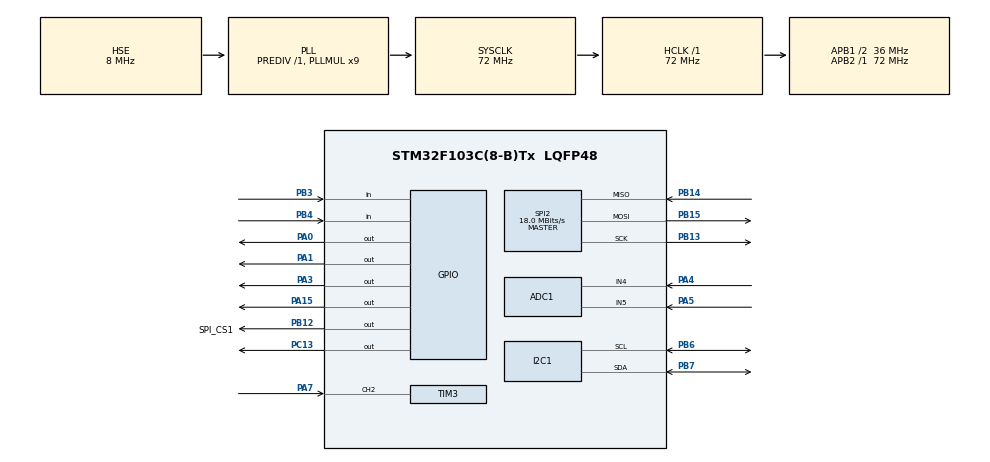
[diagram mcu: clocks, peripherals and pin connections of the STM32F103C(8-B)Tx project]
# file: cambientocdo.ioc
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ADC1.Channel-2\#ChannelRegularConversion=ADC_CHANNEL_4
ADC1.Channel-3\#ChannelRegularConversion=ADC_CHANNEL_5
ADC1.ContinuousConvMode=ENABLE
ADC1.EnableAnalogWatchDog=true
ADC1.NbrOfConversion=2
ADC1.NbrOfConversionFlag=1
ADC1.Rank-2\#ChannelRegularConversion=1
ADC1.Rank-3\#ChannelRegularConversion=2
ADC1.SamplingTime-2\#ChannelRegularConversion=ADC_SAMPLETIME_239CYCLES_5
ADC1.SamplingTime-3\#ChannelRegularConversion=ADC_SAMPLETIME_7CYCLES_5
ADC1.WatchdogChannel=ADC_CHANNEL_4
ADC1.master=1
Dma.ADC1.0.Direction=DMA_PERIPH_TO_MEMORY
Dma.ADC1.0.Instance=DMA1_Channel1
Dma.ADC1.0.MemDataAlignment=DMA_MDATAALIGN_HALFWORD
Dma.ADC1.0.MemInc=DMA_MINC_ENABLE
Dma.ADC1.0.Mode=DMA_CIRCULAR
Dma.ADC1.0.PeriphDataAlignment=DMA_PDATAALIGN_HALFWORD
Dma.ADC1.0.PeriphInc=DMA_PINC_DISABLE
Dma.ADC1.0.Priority=DMA_PRIORITY_LOW
Dma.Request0=ADC1
Mcu.Family=STM32F1
Mcu.Name=STM32F103C(8-B)Tx
Mcu.Package=LQFP48
NVIC.DMA1_Channel1_IRQn=true\:3\:0\:true\:false\:true\:false\:true\:true
NVIC.PriorityGroup=NVIC_PRIORITYGROUP_4
NVIC.TIM3_IRQn=true\:0\:0\:false\:false\:true\:true\:true\:true
PA0-WKUP.Signal=GPIO_Output
PA1.Signal=GPIO_Output
PA13.Mode=Serial_Wire
PA13.Signal=SYS_JTMS-SWDIO
PA14.Mode=Serial_Wire
PA14.Signal=SYS_JTCK-SWCLK
PA15.Signal=GPIO_Output
PA3.Signal=GPIO_Output
PA4.Signal=ADCx_IN4
PA5.Signal=ADCx_IN5
PA7.GPIO_PuPd=GPIO_PULLUP
PA7.Signal=S_TIM3_CH2
PB12.GPIO_Label=SPI_CS1
PB12.GPIO_PuPd=GPIO_PULLUP
PB12.PinState=GPIO_PIN_SET
PB12.Signal=GPIO_Output
PB13.Mode=Full_Duplex_Master
PB13.Signal=SPI2_SCK
PB14.Mode=Full_Duplex_Master
PB14.Signal=SPI2_MISO
PB15.Mode=Full_Duplex_Master
PB15.Signal=SPI2_MOSI
PB3.GPIO_PuPd=GPIO_PULLDOWN
PB3.Signal=GPIO_Input
PB4.GPIO_PuPd=GPIO_PULLDOWN
PB4.Signal=GPIO_Input
PB6.Mode=I2C
PB6.Signal=I2C1_SCL
PB7.Mode=I2C
PB7.Signal=I2C1_SDA
PC13-TAMPER-RTC.Signal=GPIO_Output
PD0-OSC_IN.Mode=HSE-External-Oscillator
PD0-OSC_IN.Signal=RCC_OSC_IN
PD1-OSC_OUT.Mode=HSE-External-Oscillator
PD1-OSC_OUT.Signal=RCC_OSC_OUT
ProjectManager.HeapSize=0x200
ProjectManager.StackSize=0x400
ProjectManager.TargetToolchain=MDK-ARM V5.32
RCC.ADCPresc=RCC_ADCPCLK2_DIV6
RCC.AHBFreq_Value=72000000
RCC.APB1CLKDivider=RCC_HCLK_DIV2
RCC.APB1Freq_Value=36000000
RCC.APB1TimFreq_Value=72000000
RCC.APB2Freq_Value=72000000
RCC.APB2TimFreq_Value=72000000
RCC.HCLKFreq_Value=72000000
RCC.PLLMUL=RCC_PLL_MUL9
RCC.PLLSourceVirtual=RCC_PLLSOURCE_HSE
RCC.SYSCLKFreq_VALUE=72000000
RCC.SYSCLKSource=RCC_SYSCLKSOURCE_PLLCLK
RCC.USBFreq_Value=72000000
SH.ADCx_IN4.0=ADC1_IN4,IN4
SH.ADCx_IN5.0=ADC1_IN5,IN5
SH.S_TIM3_CH2.0=TIM3_CH2,Input_Capture2_from_TI2
SPI2.CalculateBaudRate=18.0 MBits/s
SPI2.Direction=SPI_DIRECTION_2LINES
SPI2.Mode=SPI_MODE_MASTER
SPI2.VirtualType=VM_MASTER
TIM3.AutoReloadPreload=TIM_AUTORELOAD_PRELOAD_ENABLE
TIM3.Channel-Input_Capture2_from_TI2=TIM_CHANNEL_2
TIM3.ClockDivision=TIM_CLOCKDIVISION_DIV1
TIM3.Period=255
TIM3.Prescaler=4607
board=custom

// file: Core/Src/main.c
/* USER CODE BEGIN Header */
/**
  ******************************************************************************
  * @file           : main.c
  * @brief          : Main program body
  ******************************************************************************
  * @attention
  *
  * Copyright (c) 2025 STMicroelectronics.
  * All rights reserved.
  *
  * This software is licensed under terms that can be found in the LICENSE file
  * in the root directory of this software component.
  * If no LICENSE file comes with this software, it is provided AS-IS.
  *
  ******************************************************************************
  */
#define Len1   0
#define Len2   1
#define Len3   2

/* USER CODE END Header */
#include "main.h"

/* USER CODE BEGIN Includes */
#include "kalman.h"
#include "CLCD_I2C.h"
#include <stdio.h>
/* USER CODE END Includes */

/* USER CODE BEGIN PTD */
volatile uint32_t T1 = 0;
volatile uint32_t T2 = 0;
volatile uint32_t T3 = 0;
volatile uint32_t OverNgat = 0;
volatile int State = 0, state_xe =1;
volatile uint32_t T3_T1 = 0;
volatile double F = 0,T = 0;
volatile double tocdo = 0,vantocxe = 0;
volatile uint32_t  luuadc = 1100,tayga = 0, tinhhieului =0;

/* USER CODE END PTD */

ADC_HandleTypeDef hadc1;
DMA_HandleTypeDef hdma_adc1;

I2C_HandleTypeDef hi2c1;

SPI_HandleTypeDef hspi2;

TIM_HandleTypeDef htim3;

/* USER CODE BEGIN PV */
CLCD_I2C_Name LCD1;
/* USER CODE END PV */

void SystemClock_Config(void);
static void MX_GPIO_Init(void);
static void MX_DMA_Init(void);
static void MX_TIM3_Init(void);
static void MX_ADC1_Init(void);
static void MX_SPI2_Init(void);
static void MX_I2C1_Init(void);

/* USER CODE BEGIN 0 */
uint8_t txData0 =0;
uint8_t txData1= 1;
uint8_t txData2= 2;
uint8_t txData4 =4;
uint8_t txData5= 5;
uint8_t txDataphanh = 6;
uint8_t txDatalui = 7;
uint32_t adc_sensortayga;
int  level_tayga=0;
const int stator_speed_table[4] = {550, 740, 1205 ,1430};// 3 phan tu nen so 3 nhung so index la 0,1,2
int new_leveltayga=0, want_tocdostator = 0, set_leveltayga = 0;
int i = 0;
void CLCD_I2C_WriteIntFixed(CLCD_I2C_Name* LCD, uint8_t x, uint8_t y, int value, uint8_t width) {
    char buffer[10];
    sprintf(buffer, "%*d", width, value); // width = s? ký t? c? d?nh, can ph?i
    CLCD_I2C_SetCursor(LCD, x, y);
    CLCD_I2C_WriteString(LCD, buffer);
}

/* USER CODE END 0 */

int main(void)
{

  /* MCU Configuration--------------------------------------------------------*/

  /* Reset of all peripherals, Initializes the Flash interface and the Systick. */
  HAL_Init();

  /* Configure the system clock */
  SystemClock_Config();

  /* Initialize all configured peripherals */
  MX_GPIO_Init();
  MX_DMA_Init();
  MX_TIM3_Init();
  MX_ADC1_Init();
  MX_SPI2_Init();
  MX_I2C1_Init();
  /* USER CODE BEGIN 2 */
  HAL_TIM_Base_Start_IT(&htim3);
  HAL_TIM_IC_Start_IT(&htim3, TIM_CHANNEL_2);
	SimpleKalmanFilter(2,2,0.001f);
	CLCD_I2C_Init(&LCD1,&hi2c1,0x4e,20,4);

  /* USER CODE END 2 */

  /* Infinite loop */
  /* USER CODE BEGIN WHILE */
  while (1)
  {
		// phanh
	while (HAL_GPIO_ReadPin(GPIOB, GPIO_PIN_3)== GPIO_PIN_SET){
    HAL_GPIO_WritePin(GPIOB, GPIO_PIN_12, GPIO_PIN_RESET);
   HAL_SPI_Transmit(&hspi2, &txDataphanh, 1, 10);
    HAL_GPIO_WritePin(GPIOB, GPIO_PIN_12, GPIO_PIN_SET);
    HAL_Delay(200);
		if (T3_T1 ==0)
			{	tocdo = 0;}
		else if (T3_T1 !=0)
			{ F = 1/(0.000064*(T3_T1));
				tocdo = F*60;
				vantocxe = (tocdo*297)/62500;}
	if(OverNgat > 200)
			{T3_T1=0;
			HAL_GPIO_WritePin(GPIOA, GPIO_PIN_3, GPIO_PIN_SET);
			State = Len1;}
		else { HAL_GPIO_WritePin(GPIOA, GPIO_PIN_3, GPIO_PIN_RESET);}}

		tinhhieului = HAL_GPIO_ReadPin(GPIOB, GPIO_PIN_4);
		if ( tocdo ==0 && tinhhieului == 1)
	{ state_xe = 0;}
else if (tocdo ==0 && tinhhieului == 0)
	{ state_xe = 1;}
	else { state_xe = state_xe;}

if (state_xe ==1)
	{
		//  cam bien toc do
	if (T3_T1 ==0)
		{tocdo = 0;
		vantocxe = 0;}
	else if (T3_T1 !=0)
		{F = 1/(0.000064*(T3_T1));
		tocdo = F*60;
			vantocxe = (tocdo*297)/62500;}
		// dung xe
	 if(OverNgat > 200)
			{T3_T1=0;
			HAL_GPIO_WritePin(GPIOA, GPIO_PIN_3, GPIO_PIN_SET);
			State = Len1;}
		else { HAL_GPIO_WritePin(GPIOA, GPIO_PIN_3, GPIO_PIN_RESET);}
		// ràng tocdo doi tanso

		 if(tocdo >= 0 && tocdo<550)
			{i=0;
				set_leveltayga = 1;
			}
		else if(tocdo > 550 && tocdo <740)
			{i = 1;
				set_leveltayga =2;
			}
		else if(tocdo>740 && tocdo <1205)
			{i = 2;
				set_leveltayga = 3;
			}
			else if(tocdo>1205 && tocdo <1430)
			{i = 3;
				set_leveltayga = 4;
			}
			//cambientayga
				HAL_ADC_Start_DMA(&hadc1,&adc_sensortayga, 1);
			if (adc_sensortayga < 1100)
				{level_tayga = 0;}
		else if ( adc_sensortayga > 1100 && adc_sensortayga <1700){
				level_tayga = 1;
				want_tocdostator = 550;}
			else if( adc_sensortayga > 1700 && adc_sensortayga <2300){
				level_tayga = 2;
			want_tocdostator = 740;}
			else if( adc_sensortayga > 2300 && adc_sensortayga <2800){
				level_tayga = 3;
				want_tocdostator = 1205;}
			else if( adc_sensortayga > 2800){
				level_tayga = 4;
			want_tocdostator= 1430;}
			// su li tin hieu
			if(level_tayga ==0){
		new_leveltayga = 0;
			}
		else if(level_tayga !=0){
 if (level_tayga > set_leveltayga)
	{ new_leveltayga = set_leveltayga;

		if (((float)tocdo >= 0.8*(float)stator_speed_table[i])) // s bang 0.2
	{ new_leveltayga = new_leveltayga+1;
		i= i+1;
	}else new_leveltayga =new_leveltayga;
	}
	else if( level_tayga == set_leveltayga)
	{ new_leveltayga = set_leveltayga;
			}
	else if(level_tayga < set_leveltayga)
	{ new_leveltayga =0;
		 if((float)tocdo < (float)0.85*want_tocdostator)
		{ new_leveltayga = level_tayga;}
			else{ new_leveltayga =0;}

		}
		}
  if(new_leveltayga ==0)
	{ HAL_GPIO_WritePin(GPIOB, GPIO_PIN_12, GPIO_PIN_RESET);
   HAL_SPI_Transmit(&hspi2, &txData0, 1, 10);
    HAL_GPIO_WritePin(GPIOB, GPIO_PIN_12, GPIO_PIN_SET);
	}
	  else if(new_leveltayga ==1)
	{ HAL_GPIO_WritePin(GPIOB, GPIO_PIN_12, GPIO_PIN_RESET);
   HAL_SPI_Transmit(&hspi2, &txData1, 1, 10);
    HAL_GPIO_WritePin(GPIOB, GPIO_PIN_12, GPIO_PIN_SET);
	}
		else if(new_leveltayga ==2)
		{ HAL_GPIO_WritePin(GPIOB, GPIO_PIN_12, GPIO_PIN_RESET);
   HAL_SPI_Transmit(&hspi2, &txData2, 1, 10);
    HAL_GPIO_WritePin(GPIOB, GPIO_PIN_12, GPIO_PIN_SET);
		}
				else if(new_leveltayga ==3)
				{ HAL_GPIO_WritePin(GPIOB, GPIO_PIN_12, GPIO_PIN_RESET);
   HAL_SPI_Transmit(&hspi2, &txData4, 1, 10);
    HAL_GPIO_WritePin(GPIOB, GPIO_PIN_12, GPIO_PIN_SET);
				}
	else if(new_leveltayga ==4)
				{ HAL_GPIO_WritePin(GPIOB, GPIO_PIN_12, GPIO_PIN_RESET);
   HAL_SPI_Transmit(&hspi2, &txData5, 1, 10);
    HAL_GPIO_WritePin(GPIOB, GPIO_PIN_12, GPIO_PIN_SET);
				}
}
	else if (state_xe ==0)
		{ if (T3_T1 ==0)
		{
			tocdo = 0;
		vantocxe= 0;}
		else if (T3_T1 !=0)
			{
  F = 1/(0.000064*(T3_T1));
		tocdo = F*60;
		vantocxe = (tocdo*297)/62500;	}

			if(OverNgat > 200)
			{T3_T1=0;
			HAL_GPIO_WritePin(GPIOA, GPIO_PIN_3, GPIO_PIN_SET);
			State = Len1;}
		else { HAL_GPIO_WritePin(GPIOA, GPIO_PIN_3, GPIO_PIN_RESET);}
			HAL_ADC_Start_DMA(&hadc1,&adc_sensortayga, 1);
				if (adc_sensortayga > 1100)
					{
		HAL_GPIO_WritePin(GPIOB, GPIO_PIN_12,GPIO_PIN_RESET);
	HAL_SPI_Transmit(&hspi2, &txDatalui, 1,10);
		HAL_GPIO_WritePin(GPIOB, GPIO_PIN_12,GPIO_PIN_SET);
	HAL_Delay(200);
					}
		else {
		HAL_GPIO_WritePin(GPIOB, GPIO_PIN_12,GPIO_PIN_RESET);
		HAL_SPI_Transmit(&hspi2, &txData0, 1,10);
		HAL_GPIO_WritePin(GPIOB, GPIO_PIN_12,GPIO_PIN_SET);
		HAL_Delay(200);}
		}

CLCD_I2C_SetCursor(&LCD1, 0, 0);
		CLCD_I2C_WriteString(&LCD1, "ga");
CLCD_I2C_WriteIntFixed(&LCD1, 4, 0, adc_sensortayga, 4);  // Ghi s? t?i v? trí c?t 3

// Hi?n th? RPM (4 ký t? s?)
CLCD_I2C_SetCursor(&LCD1, 0, 1);  // dòng th? 2, c?t 0
CLCD_I2C_WriteString(&LCD1, "RPM");
CLCD_I2C_WriteIntFixed(&LCD1, 4, 1, tocdo, 4);  // Ghi t?i c?t 4, t?i da 4 ch? s?

// Hi?n th? T3 (2 ký t? s?)
CLCD_I2C_SetCursor(&LCD1, 10, 0);  // Ghi t?i c?t 9 (sau RPM và 1 d?u cách)
CLCD_I2C_WriteString(&LCD1, "VANTOC");
CLCD_I2C_WriteIntFixed(&LCD1, 11, 1,vantocxe , 5);  // Ghi t?i c?t 12, t?i da 3 ch? s?

    /* USER CODE END WHILE */

    /* USER CODE BEGIN 3 */

}}

void HAL_TIM_IC_CaptureCallback(TIM_HandleTypeDef* htim3)
{
		if(State == Len1)
	{
		T1 = TIM3->CCR2;
		OverNgat = 0;
		State = Len2;
	}
	else if(State == Len2)
	{
		T2 = TIM3->CCR2;

		State = Len3;
	}
	else if(State == Len3)
	{
		T3 = TIM3->CCR2;
		T3_T1 = (T3 + (OverNgat* 256)) - T1;
		State = Len1;
		T1=0;
		T2=0;
		T3=0;

		}

	}

void HAL_TIM_PeriodElapsedCallback(TIM_HandleTypeDef* htim3)
{
	OverNgat++;

  /* USER CODE END 3 */
}

void SystemClock_Config(void)
{
  RCC_OscInitTypeDef RCC_OscInitStruct = {0};
  RCC_ClkInitTypeDef RCC_ClkInitStruct = {0};
  RCC_PeriphCLKInitTypeDef PeriphClkInit = {0};

  /** Initializes the RCC Oscillators according to the specified parameters
  * in the RCC_OscInitTypeDef structure.
  */
  RCC_OscInitStruct.OscillatorType = RCC_OSCILLATORTYPE_HSE;
  RCC_OscInitStruct.HSEState = RCC_HSE_ON;
  RCC_OscInitStruct.HSEPredivValue = RCC_HSE_PREDIV_DIV1;
  RCC_OscInitStruct.HSIState = RCC_HSI_ON;
  RCC_OscInitStruct.PLL.PLLState = RCC_PLL_ON;
  RCC_OscInitStruct.PLL.PLLSource = RCC_PLLSOURCE_HSE;
  RCC_OscInitStruct.PLL.PLLMUL = RCC_PLL_MUL9;
  if (HAL_RCC_OscConfig(&RCC_OscInitStruct) != HAL_OK)
  {
    Error_Handler();
  }

  /** Initializes the CPU, AHB and APB buses clocks
  */
  RCC_ClkInitStruct.ClockType = RCC_CLOCKTYPE_HCLK|RCC_CLOCKTYPE_SYSCLK
                              |RCC_CLOCKTYPE_PCLK1|RCC_CLOCKTYPE_PCLK2;
  RCC_ClkInitStruct.SYSCLKSource = RCC_SYSCLKSOURCE_PLLCLK;
  RCC_ClkInitStruct.AHBCLKDivider = RCC_SYSCLK_DIV1;
  RCC_ClkInitStruct.APB1CLKDivider = RCC_HCLK_DIV2;
  RCC_ClkInitStruct.APB2CLKDivider = RCC_HCLK_DIV1;

  if (HAL_RCC_ClockConfig(&RCC_ClkInitStruct, FLASH_LATENCY_2) != HAL_OK)
  {
    Error_Handler();
  }
  PeriphClkInit.PeriphClockSelection = RCC_PERIPHCLK_ADC;
  PeriphClkInit.AdcClockSelection = RCC_ADCPCLK2_DIV6;
  if (HAL_RCCEx_PeriphCLKConfig(&PeriphClkInit) != HAL_OK)
  {
    Error_Handler();
  }
}

static void MX_ADC1_Init(void)
{

  ADC_AnalogWDGConfTypeDef AnalogWDGConfig = {0};
  ADC_ChannelConfTypeDef sConfig = {0};

  /** Common config
  */
  hadc1.Instance = ADC1;
  hadc1.Init.ScanConvMode = ADC_SCAN_ENABLE;
  hadc1.Init.ContinuousConvMode = ENABLE;
  hadc1.Init.DiscontinuousConvMode = DISABLE;
  hadc1.Init.ExternalTrigConv = ADC_SOFTWARE_START;
  hadc1.Init.DataAlign = ADC_DATAALIGN_RIGHT;
  hadc1.Init.NbrOfConversion = 2;
  if (HAL_ADC_Init(&hadc1) != HAL_OK)
  {
    Error_Handler();
  }

  /** Configure Analog WatchDog 1
  */
  AnalogWDGConfig.WatchdogMode = ADC_ANALOGWATCHDOG_SINGLE_REG;
  AnalogWDGConfig.HighThreshold = 0;
  AnalogWDGConfig.LowThreshold = 0;
  AnalogWDGConfig.Channel = ADC_CHANNEL_4;
  AnalogWDGConfig.ITMode = DISABLE;
  if (HAL_ADC_AnalogWDGConfig(&hadc1, &AnalogWDGConfig) != HAL_OK)
  {
    Error_Handler();
  }

  /** Configure Regular Channel
  */
  sConfig.Channel = ADC_CHANNEL_4;
  sConfig.Rank = ADC_REGULAR_RANK_1;
  sConfig.SamplingTime = ADC_SAMPLETIME_239CYCLES_5;
  if (HAL_ADC_ConfigChannel(&hadc1, &sConfig) != HAL_OK)
  {
    Error_Handler();
  }

  /** Configure Regular Channel
  */
  sConfig.Channel = ADC_CHANNEL_5;
  sConfig.Rank = ADC_REGULAR_RANK_2;
  sConfig.SamplingTime = ADC_SAMPLETIME_7CYCLES_5;
  if (HAL_ADC_ConfigChannel(&hadc1, &sConfig) != HAL_OK)
  {
    Error_Handler();
  }

}

static void MX_I2C1_Init(void)
{

  hi2c1.Instance = I2C1;
  hi2c1.Init.ClockSpeed = 100000;
  hi2c1.Init.DutyCycle = I2C_DUTYCYCLE_2;
  hi2c1.Init.OwnAddress1 = 0;
  hi2c1.Init.AddressingMode = I2C_ADDRESSINGMODE_7BIT;
  hi2c1.Init.DualAddressMode = I2C_DUALADDRESS_DISABLE;
  hi2c1.Init.OwnAddress2 = 0;
  hi2c1.Init.GeneralCallMode = I2C_GENERALCALL_DISABLE;
  hi2c1.Init.NoStretchMode = I2C_NOSTRETCH_DISABLE;
  if (HAL_I2C_Init(&hi2c1) != HAL_OK)
  {
    Error_Handler();
  }

}

static void MX_SPI2_Init(void)
{

  /* SPI2 parameter configuration*/
  hspi2.Instance = SPI2;
  hspi2.Init.Mode = SPI_MODE_MASTER;
  hspi2.Init.Direction = SPI_DIRECTION_2LINES;
  hspi2.Init.DataSize = SPI_DATASIZE_8BIT;
  hspi2.Init.CLKPolarity = SPI_POLARITY_LOW;
  hspi2.Init.CLKPhase = SPI_PHASE_1EDGE;
  hspi2.Init.NSS = SPI_NSS_SOFT;
  hspi2.Init.BaudRatePrescaler = SPI_BAUDRATEPRESCALER_2;
  hspi2.Init.FirstBit = SPI_FIRSTBIT_MSB;
  hspi2.Init.TIMode = SPI_TIMODE_DISABLE;
  hspi2.Init.CRCCalculation = SPI_CRCCALCULATION_DISABLE;
  hspi2.Init.CRCPolynomial = 10;
  if (HAL_SPI_Init(&hspi2) != HAL_OK)
  {
    Error_Handler();
  }

}

static void MX_TIM3_Init(void)
{

  TIM_MasterConfigTypeDef sMasterConfig = {0};
  TIM_IC_InitTypeDef sConfigIC = {0};

  htim3.Instance = TIM3;
  htim3.Init.Prescaler = 4607;
  htim3.Init.CounterMode = TIM_COUNTERMODE_UP;
  htim3.Init.Period = 255;
  htim3.Init.ClockDivision = TIM_CLOCKDIVISION_DIV1;
  htim3.Init.AutoReloadPreload = TIM_AUTORELOAD_PRELOAD_ENABLE;
  if (HAL_TIM_IC_Init(&htim3) != HAL_OK)
  {
    Error_Handler();
  }
  sMasterConfig.MasterOutputTrigger = TIM_TRGO_RESET;
  sMasterConfig.MasterSlaveMode = TIM_MASTERSLAVEMODE_DISABLE;
  if (HAL_TIMEx_MasterConfigSynchronization(&htim3, &sMasterConfig) != HAL_OK)
  {
    Error_Handler();
  }
  sConfigIC.ICPolarity = TIM_INPUTCHANNELPOLARITY_RISING;
  sConfigIC.ICSelection = TIM_ICSELECTION_DIRECTTI;
  sConfigIC.ICPrescaler = TIM_ICPSC_DIV1;
  sConfigIC.ICFilter = 0;
  if (HAL_TIM_IC_ConfigChannel(&htim3, &sConfigIC, TIM_CHANNEL_2) != HAL_OK)
  {
    Error_Handler();
  }

}

static void MX_DMA_Init(void)
{

  /* DMA controller clock enable */
  __HAL_RCC_DMA1_CLK_ENABLE();

  /* DMA interrupt init */
  /* DMA1_Channel1_IRQn interrupt configuration */
  HAL_NVIC_SetPriority(DMA1_Channel1_IRQn, 3, 0);
  HAL_NVIC_EnableIRQ(DMA1_Channel1_IRQn);

}

static void MX_GPIO_Init(void)
{
  GPIO_InitTypeDef GPIO_InitStruct = {0};

  /* GPIO Ports Clock Enable */
  __HAL_RCC_GPIOC_CLK_ENABLE();
  __HAL_RCC_GPIOD_CLK_ENABLE();
  __HAL_RCC_GPIOA_CLK_ENABLE();
  __HAL_RCC_GPIOB_CLK_ENABLE();

  /*Configure GPIO pin Output Level */
  HAL_GPIO_WritePin(GPIOC, GPIO_PIN_13, GPIO_PIN_RESET);

  /*Configure GPIO pin Output Level */
  HAL_GPIO_WritePin(GPIOA, GPIO_PIN_0|GPIO_PIN_1|GPIO_PIN_3|GPIO_PIN_15, GPIO_PIN_RESET);

  /*Configure GPIO pin Output Level */
  HAL_GPIO_WritePin(SPI_CS1_GPIO_Port, SPI_CS1_Pin, GPIO_PIN_SET);

  /*Configure GPIO pin : PC13 */
  GPIO_InitStruct.Pin = GPIO_PIN_13;
  GPIO_InitStruct.Mode = GPIO_MODE_OUTPUT_PP;
  GPIO_InitStruct.Pull = GPIO_NOPULL;
  GPIO_InitStruct.Speed = GPIO_SPEED_FREQ_LOW;
  HAL_GPIO_Init(GPIOC, &GPIO_InitStruct);

  /*Configure GPIO pins : PA0 PA1 PA3 PA15 */
  GPIO_InitStruct.Pin = GPIO_PIN_0|GPIO_PIN_1|GPIO_PIN_3|GPIO_PIN_15;
  GPIO_InitStruct.Mode = GPIO_MODE_OUTPUT_PP;
  GPIO_InitStruct.Pull = GPIO_NOPULL;
  GPIO_InitStruct.Speed = GPIO_SPEED_FREQ_LOW;
  HAL_GPIO_Init(GPIOA, &GPIO_InitStruct);

  /*Configure GPIO pin : SPI_CS1_Pin */
  GPIO_InitStruct.Pin = SPI_CS1_Pin;
  GPIO_InitStruct.Mode = GPIO_MODE_OUTPUT_PP;
  GPIO_InitStruct.Pull = GPIO_PULLUP;
  GPIO_InitStruct.Speed = GPIO_SPEED_FREQ_LOW;
  HAL_GPIO_Init(SPI_CS1_GPIO_Port, &GPIO_InitStruct);

  /*Configure GPIO pins : PB3 PB4 */
  GPIO_InitStruct.Pin = GPIO_PIN_3|GPIO_PIN_4;
  GPIO_InitStruct.Mode = GPIO_MODE_INPUT;
  GPIO_InitStruct.Pull = GPIO_PULLDOWN;
  HAL_GPIO_Init(GPIOB, &GPIO_InitStruct);

}

void Error_Handler(void)
{
  __disable_irq();
  while (1)
  {
  }
}
